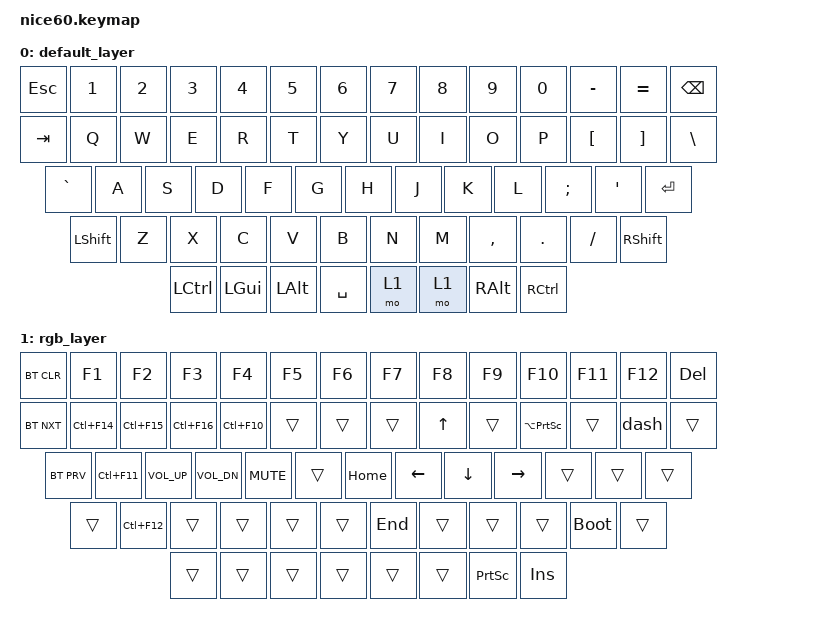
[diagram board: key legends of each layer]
/*
 * Copyright (c) 2021 Nick Winans
 *
 * SPDX-License-Identifier: MIT
 */

#include <behaviors.dtsi>
#include <dt-bindings/zmk/keys.h>
#include <dt-bindings/zmk/rgb.h>
#include <dt-bindings/zmk/bt.h>
#include <dt-bindings/zmk/outputs.h>
#include <dt-bindings/zmk/reset.h>
#include <dt-bindings/zmk/ext_power.h>

/ {
	kscan0: kscan {
		compatible = "zmk,kscan-gpio-matrix";
		label = "KSCAN";

		diode-direction = "col2row";
		row-gpios
			= <&gpio1 14 (GPIO_ACTIVE_HIGH | GPIO_PULL_DOWN)>
			, <&gpio1 13 (GPIO_ACTIVE_HIGH | GPIO_PULL_DOWN)>
			, <&gpio1 12 (GPIO_ACTIVE_HIGH | GPIO_PULL_DOWN)>
			, <&gpio1 11 (GPIO_ACTIVE_HIGH | GPIO_PULL_DOWN)>
			, <&gpio1 10 (GPIO_ACTIVE_HIGH | GPIO_PULL_DOWN)>
			;
		col-gpios
			= <&gpio1 15 GPIO_ACTIVE_HIGH>
			, <&gpio0 29 GPIO_ACTIVE_HIGH>
			, <&gpio0 31 GPIO_ACTIVE_HIGH>
			, <&gpio0 30 GPIO_ACTIVE_HIGH>
			, <&gpio0 28 GPIO_ACTIVE_HIGH>
			, <&gpio0 2  GPIO_ACTIVE_HIGH>
			, <&gpio0 20 GPIO_ACTIVE_HIGH>
			, <&gpio1 3  GPIO_ACTIVE_HIGH>
			, <&gpio1 7  GPIO_ACTIVE_HIGH>
			, <&gpio1 4  GPIO_ACTIVE_HIGH>
			, <&gpio1 6  GPIO_ACTIVE_HIGH>
			, <&gpio1 5  GPIO_ACTIVE_HIGH>
			, <&gpio1 1  GPIO_ACTIVE_HIGH>
			, <&gpio1 2  GPIO_ACTIVE_HIGH>
			;
	};
    macros {
        shrug: shrug {
            label = "shrug";
            compatible = "zmk,behavior-macro";
            #binding-cells = <0>;
	    wait-ms = <10>;
            bindings
                = <&macro_tap &kp LS(U) &kp PLUS>
                , <&macro_tap &kp 0 &kp 0 &kp A &kp F>
		, <&macro_press &kp RALT>
		, <&macro_tap &kp X>
		, <&macro_release &kp RALT>
		, <&macro_tap &kp LS(U) &kp PLUS>
                , <&macro_tap &kp 0 &kp 0 &kp 5 &kp C>
		, <&macro_press &kp RALT>
		, <&macro_tap &kp X>
		, <&macro_release &kp RALT>
		, <&macro_tap &kp LS(U) &kp PLUS>
                , <&macro_tap &kp 0 &kp 0 &kp 5 &kp F>
		, <&macro_press &kp RALT>
		, <&macro_tap &kp X>
		, <&macro_release &kp RALT> 
		, <&macro_tap &kp LS(U) &kp PLUS>
                , <&macro_tap &kp 0 &kp 0 &kp 2 &kp 8>
		, <&macro_press &kp RALT>
		, <&macro_tap &kp X>
		, <&macro_release &kp RALT>
		, <&macro_tap &kp LS(U) &kp PLUS>
                , <&macro_tap &kp 3 &kp 0 &kp C &kp 4>
		, <&macro_press &kp RALT>
		, <&macro_tap &kp X>
		, <&macro_release &kp RALT>
		, <&macro_tap &kp LS(U) &kp PLUS>
                , <&macro_tap &kp 0 &kp 0 &kp 2 &kp 9>
		, <&macro_press &kp RALT>
		, <&macro_tap &kp X>
		, <&macro_release &kp RALT>
		, <&macro_tap &kp LS(U) &kp PLUS>
                , <&macro_tap &kp 0 &kp 0 &kp 5 &kp F>
		, <&macro_press &kp RALT>
		, <&macro_tap &kp X>
		, <&macro_release &kp RALT>
		, <&macro_tap &kp LS(U) &kp PLUS>
                , <&macro_tap &kp 0 &kp 0 &kp 2 &kp F>
		, <&macro_press &kp RALT>
		, <&macro_tap &kp X>
		, <&macro_release &kp RALT>
		, <&macro_tap &kp LS(U) &kp PLUS>
                , <&macro_tap &kp 0 &kp 0 &kp A &kp F>
		, <&macro_press &kp RALT>
		, <&macro_tap &kp X>
		, <&macro_release &kp RALT>
                ;
        };
	dash: dash {
            label = "dash";
            compatible = "zmk,behavior-macro";
            #binding-cells = <0>;
	    wait-ms = <10>;
            bindings
                = <&macro_tap_time 20>
		, <&macro_press &kp LALT>
		, <&macro_tap &kp KP_N0 &kp KP_N1 &kp KP_N5 &kp KP_N1>
		, <&macro_release &kp LALT>
                ;
        };
    };
};

/ {
	keymap {
		compatible = "zmk,keymap";
		
		default_layer {
// ------------------------------------------------------------------------------------------
// | ESC |  1  |  2  |  3  |  4  |  5  |  6  |  7  |  8  |  9  |  0  |  -  |  =  |   BKSP   |
// | TAB  |  Q  |  W  |  E  |  R  |  T  |  Y  |  U  |  I  |  O  |  P  |  [  |  ]  |   "|"   |
// |   ~   |  A  |  S  |  D  |  F  |  G  |  H  |  J  |  K  |  L  |  ;  |  '  |     ENTER    |
// |  SHIFT  |  Z  |  X  |  C  |  V  |  B  |  N  |  M  |  ,  |  .  |  /  |      SHIFT       |
// |  CTL  |  WIN  |  ALT  |            SPACE              |  MO(1)  |  MO(1)  |  ALT | CTL |
// ------------------------------------------------------------------------------------------
			bindings = <
	&kp ESC  &kp N1 &kp N2 &kp N3 &kp N4 &kp N5 &kp N6 &kp N7 &kp N8 &kp N9 &kp N0 &kp MINUS &kp EQUAL  &kp BSPC
	&kp TAB  &kp Q  &kp W  &kp E  &kp R  &kp T  &kp Y  &kp U  &kp I  &kp O  &kp P  &kp LBKT  &kp RBKT  &kp BSLH
	&kp GRAVE  &kp A  &kp S  &kp D  &kp F  &kp G  &kp H  &kp J  &kp K  &kp L  &kp SEMI &kp SQT           &kp RET
	&kp LSHFT   &kp Z  &kp X  &kp C  &kp V  &kp B  &kp N  &kp M  &kp COMMA &kp DOT &kp FSLH           &kp RSHFT
	&kp LCTRL &kp LGUI &kp LALT             &kp SPACE                       &mo 1  &mo 1  &kp RALT   &kp RCTRL
			>;
		};

		rgb_layer {
// ------------------------------------------------------------------------------------------------
// | BT CLR | F1  | F2  | F3  | F4  | F5  | F6  | F7  | F8  | F9  | F10  | F11 | F12 |     DEL |
// |NEXT HOST| PRV |PAUSE|NEXT|RND|     |     |     |  UP   |     | Alt+PRTSCR |     |  -  |   |
// | PRV HOST  | vUP |nUP| nDWN |MUTE| HOME |  LT   |  DN   |  RT   |      |      | SHRG |     |
// |    SHIFT     | vDWN |      |      | END  |     |     |      |      |      |  UPD  |       |
// |   CTRL  |      |      |                                   | TOG |  TOG  |  PRTSCR  |      |
// ------------------------------------------------------------------------------------------------
// PRV,PAUSE,NEXT,RND,UP,DWN = Foobar2000 binds, replace with C_PREV, C_PLAY_PAUSE, C_NEXT, C_SHUFFLE for native control
// TODO: clear connection on switch from BT2 (there is a WIP PR by zmk dev for this), numpad symbols - this will be edited by mod-morph changes, so no point doing now
			bindings = <
	&bt BT_CLR   &kp F1   &kp F2   &kp F3   &kp F4   &kp F5  &kp F6  &kp F7   &kp F8    &kp F9   &kp F10   &kp F11   &kp F12     &kp DEL
	&bt BT_NXT &kp LC(F14) &kp LC(F15) &kp LC(F16) &kp LC(F10) &trans  &trans   &trans  &kp UP   &trans &kp LA(PSCRN)   &trans  &dash  &trans 
	&bt BT_PRV  &kp LC(F11) &kp K_VOL_UP &kp K_VOL_DN &kp C_MUTE &trans &kp HOME   &kp LEFT &kp DOWN &kp RIGHT        &trans  &trans    &trans          
	&trans       &kp LC(F12)  &trans    &trans     &trans   &trans &kp END &trans &trans       &trans   &bootloader             &trans
	&trans     &trans   &trans                             &trans                             &trans   &trans &kp PSCRN        &kp INSERT
			>;
		};
	};
};
